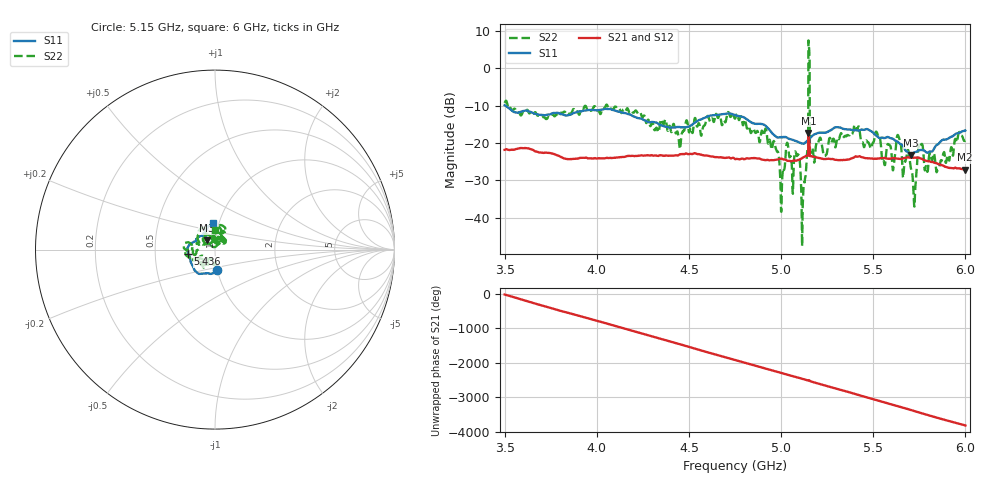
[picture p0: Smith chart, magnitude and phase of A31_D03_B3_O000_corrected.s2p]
! Created with skrf 1.9.0 (http://scikit-rf.org).
# Hz S RI R 50.0
!freq ReS11 ImS11 ReS21 ImS21 ReS12 ImS12 ReS22 ImS22
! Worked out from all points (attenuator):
!   1601 points, 3.5 GHz to 6 GHz, reference 50 ohm
!   highest |S21| = -17.32 dB at 5.148 GHz (marker M1); lowest = -27.1 dB at 5.997 GHz (marker M2)
!   lowest |S11| = -23.2 dB at 5.706 GHz (marker M3), VSWR 1.15, Z = 45.3 + j4.66 ohm
!   |S11| at or under -10 dB: 3.504 GHz to end of sweep
!   |S22| runs from -47.5 to 7.4 dB; largest |S21 - S12| = 0.001
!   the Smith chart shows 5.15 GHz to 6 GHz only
!   S11 on the Smith chart (normalised r, x): 5.15 GHz: 1.00, -0.22; 5.436 GHz: 0.74, -0.04; 6 GHz: 0.94, +0.28
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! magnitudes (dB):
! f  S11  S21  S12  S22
! 3.5 GHz  -9.9  -21.8  -21.8  -9.3
! 3.917 GHz  -11.5  -24.0  -23.9  -10.8
! 4.334 GHz  -14.9  -23.4  -23.4  -17.1
! 4.75 GHz  -12.5  -24.3  -24.2  -13.5
! 4.967 GHz  -18.1  -24.5  -24.5  -20.6
! 5.005 GHz  -18.4  -24.2  -24.2  -31.3
! 5.034 GHz  -18.6  -24.7  -24.7  -20.0
! 5.088 GHz  -19.6  -24.6  -24.6  -23.4
! 5.12 GHz  -20.2  -23.8  -23.7  -33.2
! 5.148 GHz  -19.1  -17.3  -17.3  7.4
! 5.15 GHz  -19.1  -17.9  -17.9  6.9
! 5.161 GHz  -18.5  -23.5  -23.4  -22.7
! 5.167 GHz  -18.2  -23.5  -23.5  -21.4
! 5.436 GHz  -16.4  -23.8  -23.8  -19.6
! 5.584 GHz  -18.5  -24.2  -24.2  -20.4
! 5.639 GHz  -19.9  -24.2  -24.2  -18.5
! 5.706 GHz  -23.2  -23.9  -23.9  -27.2
! 5.725 GHz  -22.4  -23.9  -23.9  -35.6
! 5.756 GHz  -21.9  -24.1  -24.1  -21.0
! 5.85 GHz  -20.4  -25.6  -25.5  -27.1
! 5.997 GHz  -16.8  -27.1  -27.1  -19.4
! 6 GHz  -16.7  -27.1  -27.0  -19.3
